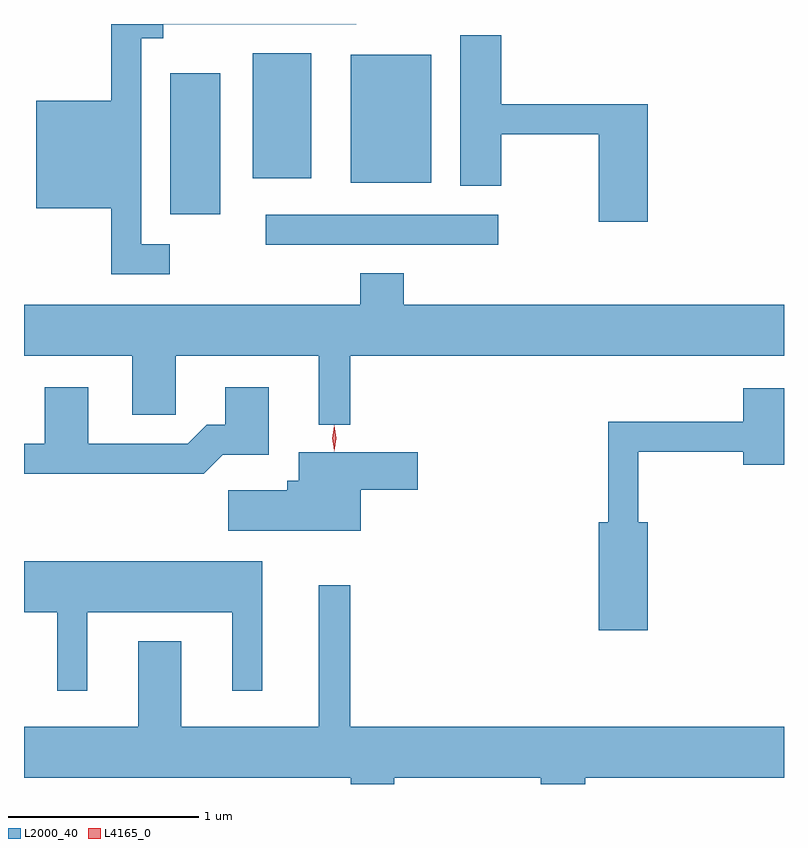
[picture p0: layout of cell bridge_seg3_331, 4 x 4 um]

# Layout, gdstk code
import gdstk
lib = gdstk.Library(unit=1e-6, precision=1e-09)
def R(c, l, rs):  # rectangles x0, y0, x1, y1
    for r in rs: c.add(gdstk.rectangle(r[:2], r[2:], *l))
def P(c, l, *ps):  # polygons
    for p in ps: c.add(gdstk.Polygon(p, *l))
L2000_40 = (2000, 40)
L4165_0 = (4165, 0)

bridge_seg3_331 = lib.new_cell('bridge_seg3_331')
R(bridge_seg3_331, L2000_40, [(603.493,1126.601,604.718,1126.759), (602.991,1126.761,603.254,1127.504), (603.941,1126.926,604.364,1127.599), (603.426,1126.951,603.734,1127.609)])
P(bridge_seg3_331, L2000_40, [(602.988,1126.604),(602.839,1126.604),(602.839,1127.686),(602.954,1127.686),(602.954,1127.761),(603.969,1127.761),(603.969,1127.762),(602.681,1127.762),(602.681,1127.359),(602.286,1127.359),(602.286,1126.791),(602.681,1126.791),(602.681,1126.446),(602.988,1126.446)],
  [(605.504,1127.339),(604.734,1127.339),(604.734,1127.704),(604.516,1127.704),(604.516,1126.911),(604.734,1126.911),(604.734,1127.181),(605.246,1127.181),(605.246,1126.721),(605.504,1126.721)],
  [(603.939,1126.016),(606.221,1126.016),(606.221,1126.284),(604.219,1126.284),(604.219,1126.449),(603.991,1126.449),(603.991,1126.284),(602.221,1126.284),(602.221,1126.016),(602.791,1126.016),(602.791,1125.706),(603.019,1125.706),(603.019,1126.016),(603.771,1126.016),(603.771,1125.653),(603.939,1125.653)],
  [(603.267,1125.496),(603.509,1125.496),(603.509,1125.849),(603.281,1125.849),(603.281,1125.654),(603.184,1125.654),(603.084,1125.554),(602.559,1125.554),(602.559,1125.849),(602.331,1125.849),(602.331,1125.554),(602.221,1125.554),(602.221,1125.396),(603.167,1125.396)],
  [(605.504,1125.139),(605.454,1125.139),(605.454,1125.511),(606.006,1125.511),(606.006,1125.441),(606.221,1125.441),(606.221,1125.844),(606.006,1125.844),(606.006,1125.669),(605.296,1125.669),(605.296,1125.139),(605.246,1125.139),(605.246,1124.571),(605.504,1124.571)],
  [(603.994,1125.311),(604.294,1125.311),(604.294,1125.509),(603.666,1125.509),(603.666,1125.359),(603.606,1125.359),(603.606,1125.309),(603.296,1125.309),(603.296,1125.096),(603.994,1125.096)],
  [(602.554,1124.666),(603.316,1124.666),(603.316,1124.253),(603.474,1124.253),(603.474,1124.934),(602.221,1124.934),(602.221,1124.666),(602.396,1124.666),(602.396,1124.253),(602.554,1124.253)],
  [(604.169,1123.796),(604.941,1123.796),(604.941,1123.762),(605.174,1123.762),(605.174,1123.796),(606.221,1123.796),(606.221,1124.064),(603.939,1124.064),(603.939,1124.808),(603.771,1124.808),(603.771,1124.064),(603.049,1124.064),(603.049,1124.514),(602.821,1124.514),(602.821,1124.064),(602.221,1124.064),(602.221,1123.796),(603.941,1123.796),(603.941,1123.762),(604.169,1123.762)])
P(bridge_seg3_331, L4165_0, [(603.855,1125.513),(603.854,1125.514),(603.845,1125.581),(603.854,1125.649),(603.855,1125.65),(603.855,1125.649),(603.865,1125.581),(603.855,1125.514)],
  [(603.853,1125.518),(603.853,1125.519),(603.843,1125.582),(603.853,1125.646),(603.853,1125.647),(603.854,1125.646),(603.863,1125.582),(603.854,1125.519)])

lib.write_gds('bridge_seg3_331.gds')
